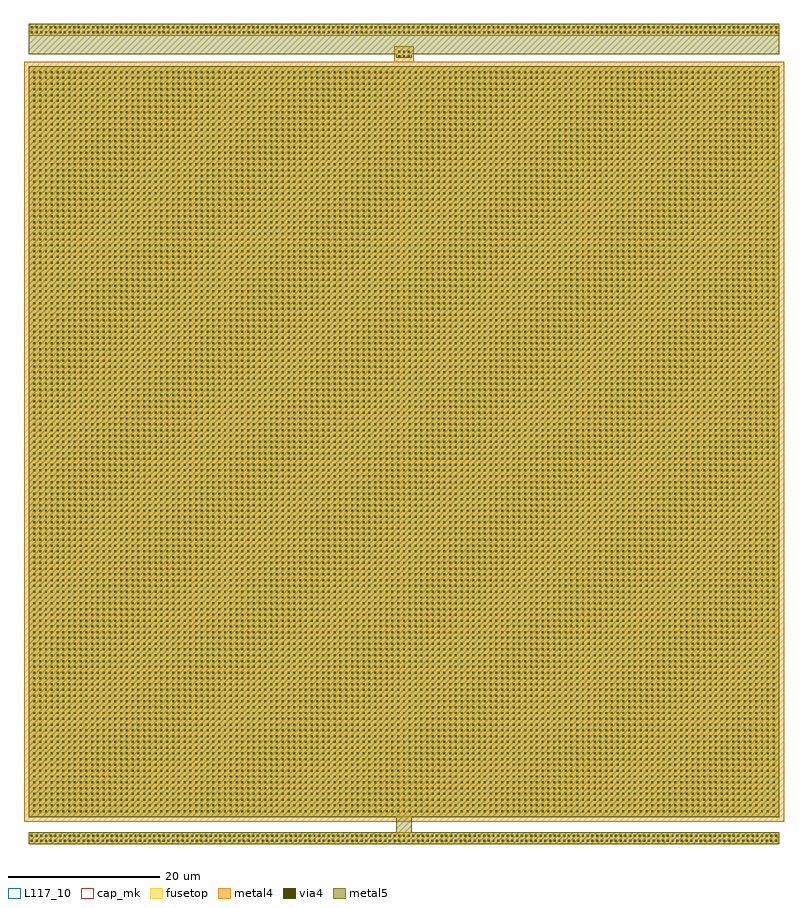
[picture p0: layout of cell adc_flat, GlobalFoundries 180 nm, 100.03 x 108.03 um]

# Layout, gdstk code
import gdstk
lib = gdstk.Library(unit=1e-6, precision=1e-09)
def R(c, l, rs):  # rectangles x0, y0, x1, y1
    for r in rs: c.add(gdstk.rectangle(r[:2], r[2:], *l))
def A(c, l, x, y, w, h, nx, ny, dx, dy):  # array of equal rectangles
    R(c, l, [(x+i*dx, y+j*dy, x+i*dx+w, y+j*dy+h) for i in range(nx) for j in range(ny)])
def P(c, l, *ps):  # polygons
    for p in ps: c.add(gdstk.Polygon(p, *l))
via4 = (41, 0)
metal4 = (46, 0)
fusetop = (75, 0)
metal5 = (81, 0)
cap_mk = (117, 5)
L117_10 = (117, 10)

adc_flat = lib.new_cell('adc_flat')
A(adc_flat, via4, 1.305, 0.76, 0.26, 0.26, 159, 2, 0.62, 0.62)
A(adc_flat, via4, 1.645, 4.645, 0.26, 0.26, 129, 129, 0.76, 0.76)
A(adc_flat, via4, 49.665, 103.99, 0.26, 0.26, 3, 2, 0.62, 0.62)
A(adc_flat, via4, 1.305, 107.19, 0.26, 0.26, 159, 2, 0.62, 0.62)
R(adc_flat, metal4, [(1,0.4,99.83,2), (1,106.83,99.83,108.43)])
P(adc_flat, metal4, [(0.4,3.4),(0.4,103.43),(49.115,103.43),(49.115,105.43),(51.715,105.43),(51.715,103.43),(100.43,103.43),(100.43,3.4)])
R(adc_flat, fusetop, [(1,4,99.83,102.83)])
P(adc_flat, metal5, [(1,0.4),(1,2),(49.415,2),(49.415,4),(1,4),(1,102.83),(99.83,102.83),(99.83,4),(51.415,4),(51.415,2),(99.83,2),(99.83,0.4)],
  [(49.415,103.93),(49.415,104.43),(1,104.43),(1,108.43),(99.83,108.43),(99.83,104.43),(51.415,104.43),(51.415,103.93)])
R(adc_flat, cap_mk, [(0.4,3.4,100.43,103.43)])
R(adc_flat, L117_10, [(1,4,99.83,4.1)])

lib.write_gds('adc_flat.gds')
